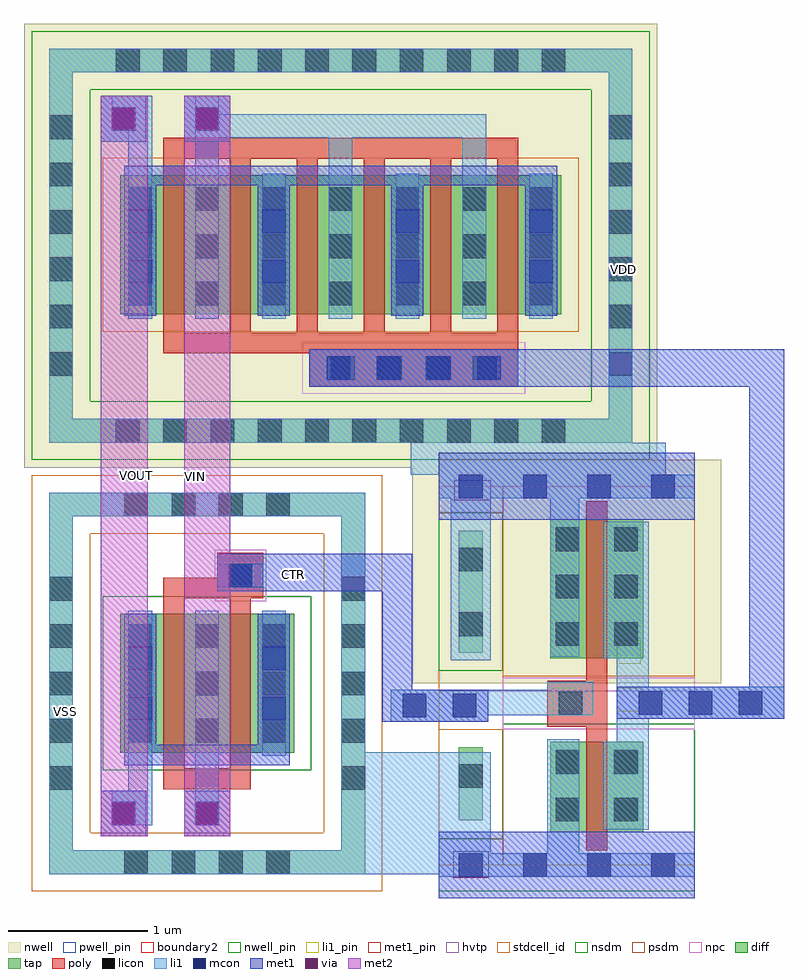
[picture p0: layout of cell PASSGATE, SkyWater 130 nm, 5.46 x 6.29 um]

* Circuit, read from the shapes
.subckt PASSGATE CTR VDD VIN VOUT VSS
XM1 VIN CTR VOUT VSS sky130_fd_pr__nfet_01v8 w=1 l=0.15 m=2
XM2 sky130_fd_sc_hd__inv_1_0/Y CTR VSS VSS sky130_fd_pr__nfet_01v8 w=0.65 l=0.15
XM3 VIN sky130_fd_sc_hd__inv_1_0/Y VOUT VDD sky130_fd_pr__pfet_01v8 w=1 l=0.15 m=6
XM4 sky130_fd_sc_hd__inv_1_0/Y CTR VDD VDD sky130_fd_pr__pfet_01v8_hvt w=1 l=0.15
.ends

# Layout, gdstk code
import gdstk
lib = gdstk.Library(unit=1e-6, precision=1e-09)
def R(c, l, rs):  # rectangles x0, y0, x1, y1
    for r in rs: c.add(gdstk.rectangle(r[:2], r[2:], *l))
def A(c, l, x, y, w, h, nx, ny, dx, dy):  # array of equal rectangles
    R(c, l, [(x+i*dx, y+j*dy, x+i*dx+w, y+j*dy+h) for i in range(nx) for j in range(ny)])
def P(c, l, *ps):  # polygons
    for p in ps: c.add(gdstk.Polygon(p, *l))
nwell_pin = (64, 16)
nwell = (64, 20)
diff = (65, 20)
tap = (65, 44)
poly = (66, 20)
licon = (66, 44)
li1_pin = (67, 16)
li1 = (67, 20)
mcon = (67, 44)
met1_pin = (68, 16)
met1 = (68, 20)
via = (68, 44)
met2 = (69, 20)
hvtp = (78, 44)
stdcell_id = (81, 4)
nsdm = (93, 44)
psdm = (94, 20)
npc = (95, 20)
pwell_pin = (122, 16)
boundary2 = (236, 0)

sky130_fd_sc_hd__inv_1 = lib.new_cell('sky130_fd_sc_hd__inv_1')
R(sky130_fd_sc_hd__inv_1, nwell_pin, [(0.145,2.635,0.315,2.805), (0.145,2.635,0.315,2.805)])
R(sky130_fd_sc_hd__inv_1, nwell, [(-0.19,1.305,1.57,2.91)])
R(sky130_fd_sc_hd__inv_1, diff, [(0.34,0.235,1.01,0.885), (0.34,1.485,1.01,2.485)])
P(sky130_fd_sc_hd__inv_1, poly, [(0.6,0.105),(0.6,0.995),(0.32,0.995),(0.32,1.325),(0.6,1.325),(0.6,2.615),(0.75,2.615),(0.75,0.105)])
A(sky130_fd_sc_hd__inv_1, licon, 0.38, 1.575, 0.17, 0.17, 1, 3, 0, 0.34)
A(sky130_fd_sc_hd__inv_1, licon, 0.8, 1.575, 0.17, 0.17, 1, 3, 0, 0.34)
R(sky130_fd_sc_hd__inv_1, licon, [(0.38,0.315,0.55,0.485), (0.8,0.315,0.97,0.485), (0.38,0.655,0.55,0.825), (0.8,0.655,0.97,0.825), (0.4,1.075,0.57,1.245)])
R(sky130_fd_sc_hd__inv_1, li1_pin, [(0.36,1.105,0.53,1.275), (0.82,1.105,0.99,1.275), (0.82,1.445,0.99,1.615)])
R(sky130_fd_sc_hd__inv_1, li1, [(0,-0.085,1.38,0.085), (0.32,0.005,0.55,0.905), (0.32,1.075,0.65,1.315), (0.34,1.495,0.55,2.675), (0,2.635,1.38,2.805)])
P(sky130_fd_sc_hd__inv_1, li1, [(0.72,0.255),(0.72,0.885),(0.82,0.885),(0.82,1.485),(0.72,1.485),(0.72,2.465),(1.05,2.465),(1.05,0.255)])
A(sky130_fd_sc_hd__inv_1, mcon, 0.145, -0.085, 0.17, 0.17, 3, 2, 0.46, 2.72)
R(sky130_fd_sc_hd__inv_1, met1_pin, [(0.145,-0.085,0.315,0.085), (0.145,-0.085,0.315,0.085), (0.145,2.635,0.315,2.805), (0.145,2.635,0.315,2.805)])
R(sky130_fd_sc_hd__inv_1, hvtp, [(0,1.25,1.38,2.72)])
R(sky130_fd_sc_hd__inv_1, stdcell_id, [(0,0,1.38,2.72)])
R(sky130_fd_sc_hd__inv_1, nsdm, [(0,-0.19,1.38,1.015)])
R(sky130_fd_sc_hd__inv_1, psdm, [(0,1.355,1.38,2.91)])
R(sky130_fd_sc_hd__inv_1, npc, [(0,0.975,1.38,1.345)])
R(sky130_fd_sc_hd__inv_1, pwell_pin, [(0.145,-0.085,0.315,0.085), (0.145,-0.085,0.315,0.085)])
R(sky130_fd_sc_hd__inv_1, boundary2, [(0,0,1.38,2.72)])
sky130_fd_sc_hd__inv_1.add(gdstk.FlexPath([(0,2.72),(1.38,2.72)], 0.48, ends="flush", simple_path=True, layer=68, datatype=20))  # met1
sky130_fd_sc_hd__inv_1.add(gdstk.FlexPath([(0,0),(1.38,0)], 0.48, ends="flush", simple_path=True, layer=68, datatype=20))  # met1
sky130_fd_sc_hd__inv_1.add(gdstk.Label('VGND', (0.23,0), layer=68, texttype=5))
sky130_fd_sc_hd__inv_1.add(gdstk.Label('VPWR', (0.23,2.72), layer=68, texttype=5))
sky130_fd_sc_hd__inv_1.add(gdstk.Label('inv_1', (0,0), layer=83, texttype=44))
sky130_fd_sc_hd__inv_1.add(gdstk.Label('Y', (0.905,1.53), layer=67, texttype=5))
sky130_fd_sc_hd__inv_1.add(gdstk.Label('Y', (0.905,1.19), layer=67, texttype=5))
sky130_fd_sc_hd__inv_1.add(gdstk.Label('A', (0.445,1.19), layer=67, texttype=5))
sky130_fd_sc_hd__inv_1.add(gdstk.Label('VNB', (0.23,0), layer=64, texttype=59))
sky130_fd_sc_hd__inv_1.add(gdstk.Label('VPB', (0.23,2.72), layer=64, texttype=5))

vias_gen = lib.new_cell('vias_gen')
R(vias_gen, li1, [(0,0,0.7,0.23)])
R(vias_gen, mcon, [(0.085,0.03,0.255,0.2), (0.445,0.03,0.615,0.2)])
R(vias_gen, met1, [(0,0,0.7,0.23)])

vias_gen_3 = lib.new_cell('vias_gen$3')
R(vias_gen_3, li1, [(0,0,1.2,0.23)])
A(vias_gen_3, mcon, 0.155, 0.03, 0.17, 0.17, 3, 1, 0.36, 0)
R(vias_gen_3, met1, [(0,0,1.2,0.23)])

vias_gen_5 = lib.new_cell('vias_gen$5')
R(vias_gen_5, poly, [(0,0,1.5,0.27)])
A(vias_gen_5, licon, 0.155, 0.05, 0.17, 0.17, 4, 1, 0.34, 0)
R(vias_gen_5, li1, [(0,0,1.5,0.27)])
A(vias_gen_5, mcon, 0.125, 0.05, 0.17, 0.17, 4, 1, 0.36, 0)
R(vias_gen_5, met1, [(0,0,1.5,0.27)])
R(vias_gen_5, npc, [(-0.05,-0.05,1.55,0.32)])

sky130_fd_sc_hd__tapvpwr = lib.new_cell('sky130_fd_sc_hd__tapvpwrvgnd_1')
R(sky130_fd_sc_hd__tapvpwr, nwell, [(-0.19,1.305,0.65,2.91)])
R(sky130_fd_sc_hd__tapvpwr, tap, [(0.145,0.32,0.315,0.845), (0.145,1.525,0.315,2.4)])
R(sky130_fd_sc_hd__tapvpwr, licon, [(0.145,0.555,0.315,0.725), (0.145,1.645,0.315,1.815), (0.145,2.11,0.315,2.28)])
R(sky130_fd_sc_hd__tapvpwr, li1, [(0,-0.085,0.46,0.085), (0.085,0,0.375,0.81), (0.085,1.47,0.375,2.72), (0,2.635,0.46,2.805)])
R(sky130_fd_sc_hd__tapvpwr, mcon, [(0.145,-0.085,0.315,0.085), (0.145,2.635,0.315,2.805)])
R(sky130_fd_sc_hd__tapvpwr, met1_pin, [(0.105,-0.09,0.36,0.1), (0.11,2.62,0.375,2.765)])
R(sky130_fd_sc_hd__tapvpwr, met1, [(0,-0.24,0.46,0.24), (0,2.48,0.46,2.96)])
R(sky130_fd_sc_hd__tapvpwr, hvtp, [(0,1.25,0.46,2.72)])
R(sky130_fd_sc_hd__tapvpwr, stdcell_id, [(0,0,0.46,2.72)])
R(sky130_fd_sc_hd__tapvpwr, nsdm, [(0,-0.19,0.46,0.19), (0,1.395,0.46,2.53)])
R(sky130_fd_sc_hd__tapvpwr, psdm, [(0,0.19,0.46,0.975), (0,2.53,0.46,2.91)])
sky130_fd_sc_hd__tapvpwr.add(gdstk.Label('VPWR', (0.23,2.72), layer=68, texttype=5))
sky130_fd_sc_hd__tapvpwr.add(gdstk.Label('VGND', (0.23,0), layer=68, texttype=5))
sky130_fd_sc_hd__tapvpwr.add(gdstk.Label('tapvpwrvgnd_1', (0,0), layer=83, texttype=44))

passgate = lib.new_cell('PASSGATE')
R(passgate, nwell, [(6.83,2.21,11.38,5.4)])
R(passgate, diff, [(7.52,0.16,8.77,1.16), (7.52,3.31,10.69,4.31)])
R(passgate, tap, [(7.01,-0.71,9.28,-0.54), (7.01,-0.54,7.18,1.86), (9.11,-0.54,9.28,1.86), (7.01,1.86,9.28,2.03), (7.01,2.39,11.2,2.56), (7.01,2.56,7.18,5.05), (11.03,2.56,11.2,5.05), (7.01,5.05,11.2,5.22)])
A(passgate, poly, 7.83, 3.18, 0.15, 1.25, 6, 1, 0.48, 0)
R(passgate, poly, [(7.83,-0.1,8.46,0.05), (7.83,0.05,7.98,1.27), (8.31,0.05,8.46,1.27), (7.83,1.27,8.55,1.42), (8.22,1.42,8.55,1.6), (7.83,3.03,10.38,3.15), (7.83,3.15,10.38,3.18), (7.83,4.43,10.38,4.58)])
A(passgate, licon, 7.55, -0.71, 0.17, 0.17, 4, 2, 0.34, 2.57)
A(passgate, licon, 7.01, -0.105, 0.17, 0.17, 1, 5, 0, 0.34)
A(passgate, licon, 9.11, -0.105, 0.17, 0.17, 1, 5, 0, 0.34)
A(passgate, licon, 7.58, 0.235, 0.17, 0.17, 3, 3, 0.48, 0.34)
A(passgate, licon, 7.49, 2.39, 0.17, 0.17, 10, 2, 0.34, 2.66)
A(passgate, licon, 7.01, 2.87, 0.17, 0.17, 1, 6, 0, 0.34)
A(passgate, licon, 11.03, 2.87, 0.17, 0.17, 1, 6, 0, 0.34)
A(passgate, licon, 7.58, 3.375, 0.17, 0.17, 7, 3, 0.48, 0.34)
R(passgate, licon, [(8.3,1.35,8.47,1.52)])
A(passgate, li1, 8.06, 3.28, 0.17, 1.3, 3, 1, 0.96, 0)
A(passgate, li1, 8.54, 3.28, 0.17, 1.04, 3, 1, 0.96, 0)
R(passgate, li1, [(7.01,-0.71,9.28,-0.54), (9.28,-0.71,9.895,0.165), (7.01,-0.54,7.18,1.86), (9.11,-0.54,9.28,0.91), (7.46,-0.36,7.75,-0.11), (8.06,-0.36,8.23,1.18), (7.58,-0.11,7.75,1.18), (8.54,0.14,8.71,1.18), (10.165,0.43,10.59,0.615), (9.11,0.91,9.28,1.86), (8.22,1.35,8.55,1.52), (7.01,1.86,9.28,2.03), (9.61,2.16,11.44,2.39), (7.01,2.39,11.2,2.46), (7.01,2.395,11.2,2.56), (7.01,2.56,7.18,5.05), (11.03,2.56,11.2,3.36), (7.58,3.28,7.75,4.63), (11.03,3.36,11.2,5.05), (8.06,4.58,10.15,4.75), (8.7,4.58,9.03,4.75), (9.66,4.58,9.99,4.75), (7.46,4.63,7.75,4.88), (8.06,4.75,8.23,4.88), (7.01,5.05,11.2,5.22)])
P(passgate, li1, [(11.2,2.39),(11.2,4.23),(11.2,4.23),(11.2,2.39)])
A(passgate, mcon, 7.58, 3.535, 0.17, 0.17, 4, 2, 0.96, 0.36)
R(passgate, mcon, [(7.46,-0.36,7.63,-0.19), (8.06,-0.36,8.23,-0.19), (7.58,0.395,7.75,0.565), (8.54,0.395,8.71,0.565), (7.58,0.755,7.75,0.925), (8.54,0.755,8.71,0.925), (8.3,1.35,8.47,1.52), (7.46,4.63,7.63,4.8), (8.06,4.63,8.23,4.8)])
A(passgate, met1, 7.55, 3.3, 0.23, 0.94, 4, 1, 0.96, 0)
R(passgate, met1, [(7.38,-0.44,7.71,-0.11), (7.98,-0.44,8.31,-0.11), (7.55,0.07,8.74,0.16), (7.55,0.16,8.74,0.22), (7.55,0.22,7.78,1.16), (8.51,0.22,8.74,1.16), (9.405,0.385,9.62,1.59), (12.04,0.405,12.29,2.79), (8.22,1.32,9.62,1.59), (10.38,2.79,12.29,3.06), (7.55,4.24,10.66,4.3), (7.55,4.3,10.66,4.38), (7.38,4.55,7.71,4.88), (7.98,4.55,8.31,4.88)])
R(passgate, via, [(7.47,-0.35,7.62,-0.2), (8.07,-0.35,8.22,-0.2), (7.47,4.64,7.62,4.79), (8.07,4.64,8.22,4.79)])
R(passgate, met2, [(7.38,-0.44,7.72,4.88), (7.98,-0.44,8.31,4.88)])
R(passgate, nsdm, [(7.395,0.035,8.895,1.285), (6.885,2.265,11.325,2.285), (6.885,2.285,11.325,2.685), (6.885,2.685,7.305,4.925), (10.905,2.685,11.325,3.535), (10.905,3.535,11.325,4.925), (6.885,4.925,11.325,5.345)])
R(passgate, psdm, [(6.885,-0.835,9.405,-0.415), (6.885,-0.415,7.305,1.735), (8.985,-0.415,9.405,1.735), (6.885,1.735,9.405,2.155), (7.395,3.185,10.815,4.435)])
R(passgate, npc, [(8.2,1.25,8.57,1.62)])
passgate.add(gdstk.Reference(sky130_fd_sc_hd__inv_1, (10.27,-0.645)))
passgate.add(gdstk.Reference(vias_gen, (9.465,0.385)))
passgate.add(gdstk.Reference(vias_gen_3, (11.09,0.405)))
passgate.add(gdstk.Reference(vias_gen_5, (8.88,2.79)))
passgate.add(gdstk.Reference(sky130_fd_sc_hd__tapvpwr, (9.81,-0.645)))
passgate.add(gdstk.Label('CTR', (8.765,1.44), layer=68, texttype=16))
passgate.add(gdstk.Label('VDD', (11.14,3.635), layer=67, texttype=16))
passgate.add(gdstk.Label('VSS', (7.125,0.46), layer=67, texttype=16))
passgate.add(gdstk.Label('VOUT', (7.635,2.15), layer=69, texttype=16))
passgate.add(gdstk.Label('VIN', (8.06,2.145), layer=69, texttype=16))

lib.write_gds('PASSGATE.gds')
